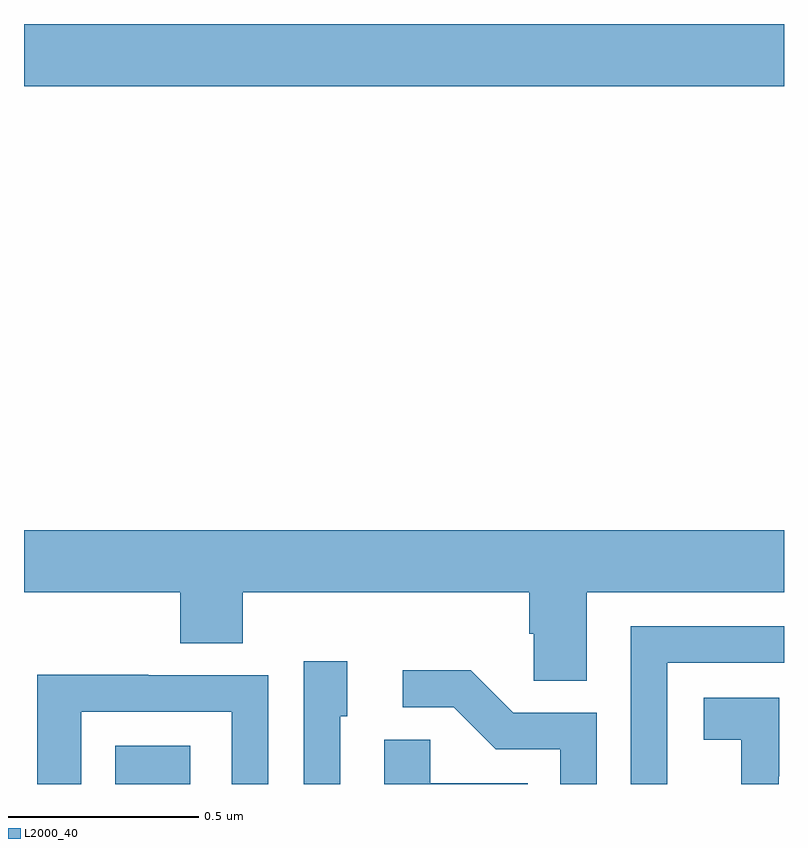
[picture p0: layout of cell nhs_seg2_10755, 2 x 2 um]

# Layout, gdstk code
import gdstk
lib = gdstk.Library(unit=1e-6, precision=1e-09)
def R(c, l, rs):  # rectangles x0, y0, x1, y1
    for r in rs: c.add(gdstk.rectangle(r[:2], r[2:], *l))
def P(c, l, *ps):  # polygons
    for p in ps: c.add(gdstk.Polygon(p, *l))
L2000_40 = (2000, 40)

nhs_seg2_10755 = lib.new_cell('nhs_seg2_10755')
R(nhs_seg2_10755, L2000_40, [(245.24,645.8,245.437,645.901), (245,647.636,247,647.8)])
P(nhs_seg2_10755, L2000_40, [(246.481,646.304),(247,646.304),(247,646.468),(245,646.468),(245,646.304),(245.411,646.304),(245.411,646.171),(245.576,646.171),(245.576,646.304),(246.329,646.304),(246.329,646.195),(246.342,646.195),(246.342,646.072),(246.481,646.072)],
  [(246.693,646.119),(247,646.119),(247,646.215),(246.597,646.215),(246.597,645.8),(246.693,645.8)],
  [(245.832,645.978),(245.851,645.978),(245.851,646.123),(245.736,646.123),(245.736,645.8),(245.832,645.8)],
  [(246.507,645.987),(246.288,645.987),(246.175,646.1),(245.997,646.1),(245.997,646.002),(246.131,646.002),(246.242,645.891),(246.411,645.891),(246.411,645.8),(246.507,645.8)],
  [(245.151,645.99),(245.547,645.99),(245.547,645.8),(245.643,645.8),(245.643,646.086),(245.327,646.086),(245.327,646.088),(245.035,646.088),(245.035,645.8),(245.151,645.8)],
  [(246.986,645.821),(246.987,645.821),(246.987,646.027),(246.789,646.027),(246.789,645.917),(246.887,645.917),(246.887,645.8),(246.986,645.8)],
  [(246.326,645.802),(246.069,645.802),(246.069,645.917),(245.948,645.917),(245.948,645.8),(246.326,645.8)])

lib.write_gds('nhs_seg2_10755.gds')
